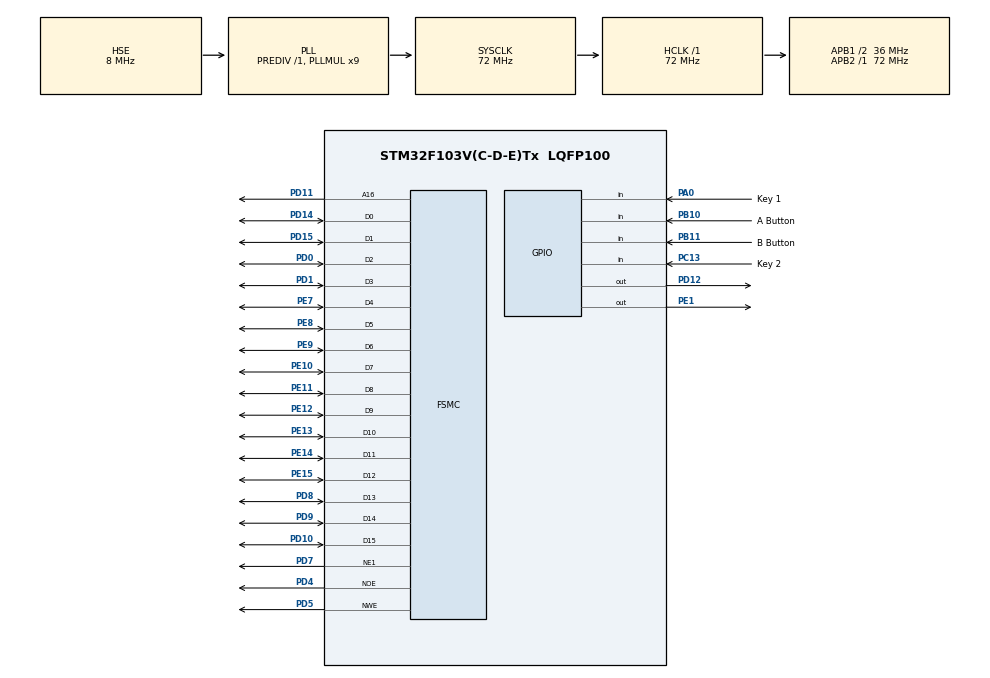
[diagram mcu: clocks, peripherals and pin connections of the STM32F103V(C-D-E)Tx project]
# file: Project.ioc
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Dma.MEMTOMEM.0.Direction=DMA_MEMORY_TO_MEMORY
Dma.MEMTOMEM.0.Instance=DMA1_Channel1
Dma.MEMTOMEM.0.MemDataAlignment=DMA_MDATAALIGN_HALFWORD
Dma.MEMTOMEM.0.MemInc=DMA_MINC_DISABLE
Dma.MEMTOMEM.0.Mode=DMA_NORMAL
Dma.MEMTOMEM.0.PeriphDataAlignment=DMA_PDATAALIGN_HALFWORD
Dma.MEMTOMEM.0.PeriphInc=DMA_PINC_ENABLE
Dma.MEMTOMEM.0.Priority=DMA_PRIORITY_LOW
Dma.Request0=MEMTOMEM
Mcu.Family=STM32F1
Mcu.Name=STM32F103V(C-D-E)Tx
Mcu.Package=LQFP100
NVIC.DMA1_Channel1_IRQn=true\:0\:0\:false\:false\:true\:true\:true\:true
NVIC.PriorityGroup=NVIC_PRIORITYGROUP_4
OSC_IN.Mode=HSE-External-Oscillator
OSC_IN.Signal=RCC_OSC_IN
OSC_OUT.Mode=HSE-External-Oscillator
OSC_OUT.Signal=RCC_OSC_OUT
PA0-WKUP.GPIO_Label=Key 1
PA0-WKUP.GPIO_PuPd=GPIO_PULLDOWN
PA0-WKUP.Signal=GPIO_Input
PA13.Mode=Serial_Wire
PA13.Signal=SYS_JTMS-SWDIO
PA14.Mode=Serial_Wire
PA14.Signal=SYS_JTCK-SWCLK
PB10.GPIO_Label=A Button
PB10.GPIO_PuPd=GPIO_PULLDOWN
PB10.Signal=GPIO_Input
PB11.GPIO_Label=B Button
PB11.GPIO_PuPd=GPIO_PULLDOWN
PB11.Signal=GPIO_Input
PC13-TAMPER-RTC.GPIO_Label=Key 2
PC13-TAMPER-RTC.GPIO_PuPd=GPIO_PULLDOWN
PC13-TAMPER-RTC.Signal=GPIO_Input
PC14-OSC32_IN.Mode=LSE-External-Oscillator
PC14-OSC32_IN.Signal=RCC_OSC32_IN
PC15-OSC32_OUT.Mode=LSE-External-Oscillator
PC15-OSC32_OUT.Signal=RCC_OSC32_OUT
PD0.Mode=16b-d1
PD0.Signal=FSMC_D2
PD1.Mode=16b-d1
PD1.Signal=FSMC_D3
PD10.Mode=16b-d1
PD10.Signal=FSMC_D15
PD11.Mode=A16_1
PD11.Signal=FSMC_A16
PD12.GPIO_Speed=GPIO_SPEED_FREQ_HIGH
PD12.PinState=GPIO_PIN_RESET
PD12.Signal=GPIO_Output
PD14.Mode=16b-d1
PD14.Signal=FSMC_D0
PD15.Mode=16b-d1
PD15.Signal=FSMC_D1
PD4.Mode=Lcd1
PD4.Signal=FSMC_NOE
PD5.Mode=Lcd1
PD5.Signal=FSMC_NWE
PD7.Mode=NorPsramChipSelect1_1
PD7.Signal=FSMC_NE1
PD8.Mode=16b-d1
PD8.Signal=FSMC_D13
PD9.Mode=16b-d1
PD9.Signal=FSMC_D14
PE1.GPIO_Speed=GPIO_SPEED_FREQ_HIGH
PE1.PinState=GPIO_PIN_RESET
PE1.Signal=GPIO_Output
PE10.Mode=16b-d1
PE10.Signal=FSMC_D7
PE11.Mode=16b-d1
PE11.Signal=FSMC_D8
PE12.Mode=16b-d1
PE12.Signal=FSMC_D9
PE13.Mode=16b-d1
PE13.Signal=FSMC_D10
PE14.Mode=16b-d1
PE14.Signal=FSMC_D11
PE15.Mode=16b-d1
PE15.Signal=FSMC_D12
PE7.Mode=16b-d1
PE7.Signal=FSMC_D4
PE8.Mode=16b-d1
PE8.Signal=FSMC_D5
PE9.Mode=16b-d1
PE9.Signal=FSMC_D6
ProjectManager.HeapSize=0x200
ProjectManager.StackSize=0x400
ProjectManager.TargetToolchain=STM32CubeIDE
RCC.AHBFreq_Value=72000000
RCC.APB1CLKDivider=RCC_HCLK_DIV2
RCC.APB1Freq_Value=36000000
RCC.APB1TimFreq_Value=72000000
RCC.APB2Freq_Value=72000000
RCC.APB2TimFreq_Value=72000000
RCC.HCLKFreq_Value=72000000
RCC.PLLMUL=RCC_PLL_MUL9
RCC.PLLSourceVirtual=RCC_PLLSOURCE_HSE
RCC.SYSCLKFreq_VALUE=72000000
RCC.SYSCLKSource=RCC_SYSCLKSOURCE_PLLCLK
RCC.USBFreq_Value=72000000
board=custom

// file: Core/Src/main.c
/* USER CODE BEGIN Header */
/**
  ******************************************************************************
  * @file           : main.c
  * @brief          : Main program body
  ******************************************************************************
  * @attention
  *
  * Copyright (c) 2024 STMicroelectronics.
  * All rights reserved.
  *
  * This software is licensed under terms that can be found in the LICENSE file
  * in the root directory of this software component.
  * If no LICENSE file comes with this software, it is provided AS-IS.
  *
  ******************************************************************************
  */
/* USER CODE END Header */
#include "main.h"

/* USER CODE BEGIN Includes */

#include <stdio.h>
#include "lcd.h"
#include "images.h"
#include "kirby.h"
#include "enemy.h"

/* USER CODE END Includes */

 DMA_HandleTypeDef hdma_memtomem_dma1_channel1;
SRAM_HandleTypeDef hsram1;

void SystemClock_Config(void);
static void MX_GPIO_Init(void);
static void MX_DMA_Init(void);
static void MX_FSMC_Init(void);

/* USER CODE BEGIN 0 */

void XferCpltCallback(DMA_HandleTypeDef* hdma);

void handleWin() {
	char string[10] = "You Win!!";
	LCD_DrawString(0, 220, string);
}

void handleLose() {
	char string[10] = "You Lose!!";
	LCD_DrawString(0, 220, string);
}

/* USER CODE END 0 */

int main(void)
{

  /* MCU Configuration--------------------------------------------------------*/

  /* Reset of all peripherals, Initializes the Flash interface and the Systick. */
  HAL_Init();

  /* Configure the system clock */
  SystemClock_Config();

  /* Initialize all configured peripherals */
  MX_GPIO_Init();
  MX_DMA_Init();
  MX_FSMC_Init();
  /* USER CODE BEGIN 2 */

  // Initialize DMA
  hdma_memtomem_dma1_channel1.XferCpltCallback = &XferCpltCallback;

  LCD_INIT();

  // Change render direction to horizontal
  LCD_Write_Cmd(0x36);
  LCD_Write_Data(0x68);

  LCD_OpenWindow(0, 0, 320, 240);
  LCD_Write_Cmd ( CMD_SetPixel );

  // Rendering platform Image
  for (int y = 0; y < 216; y++) {
	  HAL_DMA_Start_IT(&hdma_memtomem_dma1_channel1, (uint32_t)(&platformImg[882 * y]), (uint32_t)0x60020000, 320);
	  HAL_Delay(1);
  }

  // Initializing Kirby
//  struct Kirby kirby = {
//		  50, 140,
//		  {KIRBY_IDLE_SPRITE_0, KIRBY_IDLE_SPRITE_1, KIRBY_IDLE_SPRITE_2},
//		  {
//				  KIRBY_WALKING_SPRITE_0, KIRBY_WALKING_SPRITE_1, KIRBY_WALKING_SPRITE_2, KIRBY_WALKING_SPRITE_3, KIRBY_WALKING_SPRITE_4,
//				  KIRBY_WALKING_SPRITE_5, KIRBY_WALKING_SPRITE_6, KIRBY_WALKING_SPRITE_7, KIRBY_WALKING_SPRITE_8, KIRBY_WALKING_SPRITE_9,
//		  }
//  };
//
//  uint8_t currentFrame = 0;
//
//  Kirby_displayKirbyFacingRight(kirby.idleKeyframes[currentFrame], kirby.xPos, kirby.yPos);
//  HAL_Delay(1000);

  /* GPIO definitions */
  // Key 1 (Left Button)
  GPIO_TypeDef* LEFT_GPIO_PORT = GPIOA;
  uint16_t LEFT_GPIO_PIN = GPIO_PIN_0;
  uint8_t inputLeft;

  // Key 2 (Right Button)
  GPIO_TypeDef* RIGHT_GPIO_PORT = GPIOC;
  uint16_t RIGHT_GPIO_PIN = GPIO_PIN_13;
  uint8_t inputRight;

  // A Button
  GPIO_TypeDef* A_BUTTON_GPIO_PORT = GPIOB;
  uint16_t A_BUTTON_GPIO_PIN = GPIO_PIN_10;
  uint8_t inputA;

  // B Button
  GPIO_TypeDef* B_BUTTON_GPIO_PORT = GPIOB;
  uint16_t B_BUTTON_GPIO_PIN = GPIO_PIN_11;
  uint8_t inputB;

  // Keeps track of state change: idle - 0, walking right - 1, walking left - 2
//  uint8_t state = 0;
//
//  // Keeps track of direction: right - 0, left - 1
//  uint8_t direction = 0;
//
//  const uint16_t KIRBY_FLOATING_SPRITE_0[1056] = {
//  0x4B4E,0x4B4E,0x4B4E,0x4B4E,0x3A8B,0x3104,0x40C4,0x4906,0x4906,0x3883,0x3186,0x3229,0x3229,0x3229,0x3229,0x3229,0x3229,0x3229,0x3229,0x3229,0x3229,0x3229,0x3229,0x3946,0x48E5,0x4906,0x40C5,0x39A7,0x42EC,0x4B4E,0x4B4E,0x4B4E,0x4B4E,
//  0x4B4E,0x4B4E,0x4B4E,0x3A8B,0x3104,0x9147,0xE332,0xF3F6,0xF3F6,0xD28F,0x68C5,0x4083,0x48E5,0x4947,0x4967,0x4988,0x4988,0x4967,0x4967,0x4926,0x40C5,0x2842,0x1820,0x99CA,0xEB94,0xF3F6,0xEB73,0x81CA,0x39C8,0x42EC,0x4B4E,0x4B4E,0x4B4E,
//  0x4B4E,0x4B4E,0x4B4E,0x1925,0x78E5,0xDB11,0xF4B9,0xFD1B,0xFD1B,0xF457,0xD28F,0xD28F,0xEBB4,0xF478,0xFCB9,0xFCFA,0xFD1B,0xFCD9,0xFCB9,0xF437,0xEB73,0xAA4C,0x89A8,0xCA8E,0xF416,0xF4B9,0xFCFA,0xF457,0x5167,0x2A09,0x4B4E,0x4B4E,0x4B4E,
//  0x4B4E,0x4B4E,0x4B4E,0x1925,0x89AA,0xEC37,0xFD1B,0xFD1B,0xFD1B,0xFD1B,0xF457,0xF457,0xFCFA,0xFD1B,0xFD1B,0xFD1B,0xFD1B,0xFD1B,0xFD1B,0xFD1B,0xFD1B,0xFD1B,0xF457,0xEB73,0xEB73,0xEBB4,0xF478,0xFCB8,0x59A8,0x2A09,0x4B4E,0x4B4E,0x4B4E,
//  0x4B4E,0x4B4E,0x4B4E,0x1925,0x9A4C,0xF478,0xFD1B,0xFD1B,0xFD1B,0xFD1B,0xFCD9,0xFCFA,0xFD1B,0xFD1B,0xFD1B,0xFD1B,0xFD1B,0xFD1B,0xFD1B,0xFD1B,0xFD1B,0xFD1B,0xFD1B,0xFD1B,0xF457,0xE311,0xE331,0xEBF5,0x5988,0x2A09,0x4B4E,0x4B4E,0x4B4E,
//  0x4B4E,0x4B4E,0x4B4E,0x1925,0x920B,0xF437,0xFCFA,0xFD1B,0xFD1B,0xFCFA,0xFCFA,0xFD1B,0xFD1B,0xFD1B,0xFD1B,0xFD1B,0xFD1B,0xFD1B,0xFD1B,0xFCFA,0xFCDA,0xFCFA,0xFD1B,0xFCFA,0xFCB8,0xF416,0xD28E,0xC24D,0x40E5,0x2A09,0x4B4E,0x4B4E,0x4B4E,
//  0x4B4E,0x4B4E,0x4B4E,0x1925,0x8127,0xE352,0xF498,0xFCDA,0xFCDA,0xFCB9,0xFCFA,0xFD1B,0xFD1B,0xFD1B,0xFD1B,0xFD1B,0xFD1B,0xFD1B,0xFD1B,0xF437,0xD372,0xE416,0xF4DA,0xF437,0xD372,0xE3D4,0xF416,0xAA0B,0x3062,0x2A09,0x4B4E,0x4B4E,0x4B4E,
//  0x4B4E,0x4B4E,0x3A8B,0x10C3,0x6083,0xCA4D,0xF3D5,0xF477,0xFC98,0xFCFA,0xFD1B,0xFD1B,0xFD1B,0xFD1B,0xFD1B,0xFD1B,0xFD1B,0xFD1B,0xFD1B,0xEB93,0xAACC,0xC2CE,0xEC37,0xEB93,0xAACC,0xC2CE,0xEC37,0xEBB4,0x6126,0x2966,0x42EC,0x4B4E,0x4B4E,
//  0x4B4E,0x4B4E,0x1925,0x2021,0x6905,0xC26D,0xEBB4,0xF478,0xFCFA,0xFD1B,0xFD1B,0xFD1B,0xFD1B,0xFD1B,0xFD1B,0xFD1B,0xFD1B,0xFD1B,0xFD1B,0xF457,0xC4D5,0x9A6B,0xD393,0xF457,0xC4D5,0x9A6B,0xD393,0xFCD9,0xA20B,0x2841,0x2A09,0x4B4E,0x4B4E,
//  0x4B4E,0x3A8B,0x20E3,0x80E6,0xDAF0,0xF457,0xFCFA,0xFD1B,0xFD1B,0xFD1B,0xFD1B,0xFD1B,0xFD1B,0xFD1B,0xFD1B,0xFD1B,0xFD1B,0xFD1B,0xFD1B,0xFCD9,0x69C9,0x3041,0xB351,0xFCD9,0x69C9,0x3041,0xB351,0xFD1B,0xD2AF,0x5083,0x2966,0x42EC,0x4B4E,
//  0x4B4E,0x1925,0x4862,0xB9EB,0xEBF5,0xFCFA,0xFD1B,0xFD1B,0xFD1B,0xFD1B,0xFD1B,0xFD1B,0xFD1B,0xFD1B,0xFD1B,0xFD1B,0xFD1B,0xFD1B,0xFD1B,0xFD1B,0xA22C,0x2841,0x9B31,0xFD1B,0xA22C,0x2841,0x9B31,0xFD1B,0xEBB4,0x9988,0x2841,0x2A09,0x4B4E,
//  0x4B4E,0x1925,0x78E5,0xDAF0,0xF499,0xFD1B,0xFD1B,0xFD1B,0xFD1B,0xFD1B,0xFD1B,0xFD1B,0xFD1B,0xFD1B,0xFD1B,0xFD1B,0xF4B9,0xF3F8,0xFBB7,0xFC99,0xD2F0,0x40A4,0x9B31,0xFD1B,0xD2F0,0x40A4,0x9A4F,0xF438,0xF4B8,0xD28E,0x4083,0x2A09,0x4B4E,
//  0x4B4E,0x1925,0x8969,0xEBB4,0xFCD9,0xFD1B,0xFD1B,0xFD1B,0xFD1B,0xFD1B,0xFD1B,0xFD1B,0xFD1B,0xFD1B,0xFD1B,0xFD1B,0xF457,0xF2D4,0xFA13,0xFBF8,0xF457,0x81EA,0xB372,0xFD1B,0xF457,0x81EA,0xB18E,0xF355,0xF4B9,0xE352,0x48C5,0x2A09,0x4B4E,
//  0x4B4E,0x1925,0x8969,0xEBB4,0xFCD9,0xFD1B,0xFD1B,0xFD1B,0xFD1B,0xFD1B,0xFD1B,0xFD1B,0xFD1B,0xFD1B,0xFD1B,0xFD1B,0xFD1B,0xFD1B,0xFD1B,0xFD1B,0xFD1B,0xEBD5,0xEC16,0xF4DA,0xF4B9,0xEBB4,0xF457,0xFD1B,0xFD1B,0xE352,0x48C5,0x2A09,0x4B4E,
//  0x4B4E,0x1925,0x8969,0xEBB4,0xFCD9,0xFD1B,0xFD1B,0xFD1B,0xFD1B,0xFD1B,0xFD1B,0xFD1B,0xFD1B,0xFD1B,0xFD1B,0xFD1B,0xFD1B,0xFD1B,0xFD1B,0xFD1B,0xFD1B,0xFD1B,0xEBD5,0xE393,0xDB11,0xEC37,0xFD1B,0xFD1B,0xFD1B,0xE352,0x48C5,0x2A09,0x4B4E,
//  0x4B4E,0x1925,0x8969,0xEBB4,0xFCD9,0xFD1B,0xFD1B,0xFD1B,0xFD1B,0xFD1B,0xFD1B,0xFD1B,0xFD1B,0xFD1B,0xFD1B,0xFD1B,0xFD1B,0xFD1B,0xFD1B,0xFD1B,0xFD1B,0xFD1B,0xEB93,0xD26E,0xC1EB,0xE3D5,0xFD1B,0xFD1B,0xFD1B,0xE352,0x48C5,0x2A09,0x4B4E,
//  0x4B4E,0x1925,0x8969,0xEB93,0xF4B9,0xFD1B,0xFD1B,0xFD1B,0xFD1B,0xFD1B,0xFD1B,0xFD1B,0xFD1B,0xFD1B,0xFD1B,0xFD1B,0xFD1B,0xFD1B,0xFD1B,0xFD1B,0xFD1B,0xFD1B,0xF457,0xF499,0xF457,0xF499,0xFD1B,0xFD1B,0xFCFA,0xE332,0x48C5,0x2A09,0x4B4E,
//  0x4B4E,0x1925,0x8127,0xE2F1,0xF457,0xFCFA,0xFD1B,0xFD1B,0xFD1B,0xFD1B,0xFD1B,0xFD1B,0xFD1B,0xFD1B,0xFD1B,0xFD1B,0xFD1B,0xFD1B,0xFD1B,0xFD1B,0xFD1B,0xFD1B,0xFCD9,0xFCFA,0xFCD9,0xFCFA,0xFD1B,0xFD1B,0xFCB9,0xDAD0,0x48A4,0x2A09,0x4B4E,
//  0x4B4E,0x1925,0x6083,0xCA4D,0xF3D5,0xF498,0xFCFA,0xFD1B,0xFD1B,0xFD1B,0xFD1B,0xFD1B,0xFD1B,0xFD1B,0xFD1B,0xFD1B,0xFD1B,0xFD1B,0xFD1B,0xFD1B,0xFD1B,0xFD1B,0xFD1B,0xFD1B,0xFD1B,0xFD1B,0xFD1B,0xFCFA,0xF436,0xB1EB,0x3042,0x2A09,0x4B4E,
//  0x4B4E,0x29C7,0x3082,0x9948,0xE2F1,0xF3F5,0xF498,0xFCFA,0xFD1B,0xFD1B,0xFD1B,0xFD1B,0xFD1B,0xFD1B,0xFD1B,0xFD1B,0xFD1B,0xFD1B,0xFD1B,0xFD1B,0xFD1B,0xFD1B,0xFD1B,0xFD1B,0xFD1B,0xFD1B,0xFCFA,0xF477,0xE2F1,0x7905,0x20C3,0x326A,0x4B4E,
//  0x4B4E,0x4B4E,0x1925,0x6083,0xCA4D,0xEB53,0xF3F5,0xF498,0xFCDA,0xFCFA,0xFD1B,0xFD1B,0xFD1B,0xFD1B,0xFD1B,0xFD1B,0xFD1B,0xFD1B,0xFD1B,0xFD1B,0xFD1B,0xFD1B,0xFD1B,0xFD1B,0xFCFA,0xFCDA,0xF477,0xF3D5,0xDA6E,0x48A4,0x2A09,0x4B4E,0x4B4E,
//  0x4B4E,0x4B4E,0x29C7,0x3082,0x9948,0xE2F1,0xF394,0xF3F5,0xF436,0xF498,0xFCDA,0xFCFA,0xFD1B,0xFD1B,0xFD1B,0xFD1B,0xFD1B,0xFD1B,0xFD1B,0xFD1B,0xFD1B,0xFD1B,0xFCFA,0xFCDA,0xF477,0xF436,0xF3D5,0xEB52,0xA189,0x38E4,0x326A,0x4B4E,0x4B4E,
//  0x4B4E,0x4B4E,0x4B4E,0x1925,0x6083,0xCA4D,0xEB53,0xF394,0xF394,0xF3F5,0xF436,0xF478,0xF4B9,0xFCDA,0xFCDA,0xFCDA,0xFCDA,0xFCDA,0xFCDA,0xFCDA,0xF4B9,0xF498,0xF457,0xF436,0xF3D5,0xF394,0xEB52,0xC22D,0x40A3,0x2A09,0x4B4E,0x4B4E,0x4B4E,
//  0x4B4E,0x4B4E,0x4B4E,0x1925,0x5022,0xB149,0xDAAF,0xEB53,0xF394,0xF394,0xF394,0xF394,0xF3F5,0xF436,0xF436,0xF436,0xF436,0xF436,0xF436,0xF436,0xF3D5,0xF394,0xF394,0xF394,0xF394,0xEB52,0xD24E,0x70E5,0x20C3,0x326A,0x4B4E,0x4B4E,0x4B4E,
//  0x4B4E,0x4B4E,0x3A8B,0x20E3,0x9827,0xC089,0xB149,0xCA4D,0xE2F1,0xEB53,0xF394,0xF394,0xF394,0xF394,0xF394,0xF394,0xF394,0xF394,0xF394,0xF394,0xF394,0xF394,0xF394,0xEB52,0xE2D0,0xC20C,0x8906,0x38E4,0x326A,0x4B4E,0x4B4E,0x4B4E,0x4B4E,
//  0x4B4E,0x4B4E,0x1925,0x4821,0xC88B,0xE06D,0xA047,0xA085,0xB148,0xCA4D,0xE2F1,0xEB12,0xEB53,0xF394,0xF394,0xF394,0xF394,0xF394,0xF394,0xF394,0xEB52,0xEB12,0xE2D0,0xC20C,0x8906,0x5062,0x20C3,0x326A,0x4B4E,0x4B4E,0x4B4E,0x4B4E,0x4B4E,
//  0x4B4E,0x4B4E,0x1925,0x7004,0xE1EF,0xF991,0xE06D,0xC849,0x9044,0x9885,0xB148,0xB1AA,0xCA4D,0xDAAF,0xDAAF,0xDAAF,0xDAAF,0xDAAF,0xDAAF,0xDAAF,0xD22D,0xB9CA,0x8906,0x5062,0x20C3,0x1104,0x326A,0x4B4E,0x4B4E,0x4B4E,0x4B4E,0x4B4E,0x4B4E,
//  0x4B4E,0x4B4E,0x1925,0x8006,0xEB94,0xFA73,0xF8D0,0xF8D0,0xD04A,0xB806,0x8043,0x4861,0x6083,0x78A4,0x88C5,0xA0C6,0xB0A6,0xB0A6,0xB0A6,0xB0A6,0xB0A6,0x6863,0x20C3,0x1104,0x326A,0x4B4E,0x4B4E,0x4B4E,0x4B4E,0x4B4E,0x4B4E,0x4B4E,0x4B4E,
//  0x4B4E,0x4B4E,0x1925,0x7805,0xE06D,0xF8D0,0xF8D0,0xF08E,0xD82B,0xB808,0x6843,0x20C3,0x1104,0x1104,0x3082,0x7823,0xA805,0xB806,0xB806,0xB005,0x8804,0x38A4,0x326A,0x4B4E,0x4B4E,0x4B4E,0x4B4E,0x4B4E,0x4B4E,0x4B4E,0x4B4E,0x4B4E,0x4B4E,
//  0x4B4E,0x4B4E,0x1925,0x6002,0xC069,0xE88D,0xE88E,0xD02A,0xB007,0x6843,0x20C3,0x326A,0x4B4E,0x4B4E,0x29C7,0x3082,0x7024,0x8806,0x8806,0x8004,0x38A4,0x326A,0x4B4E,0x4B4E,0x4B4E,0x4B4E,0x4B4E,0x4B4E,0x4B4E,0x4B4E,0x4B4E,0x4B4E,0x4B4E,
//  0x4B4E,0x4B4E,0x29C7,0x3082,0x6022,0x8005,0x8806,0x8004,0x5022,0x20C3,0x326A,0x4B4E,0x4B4E,0x4B4E,0x4B4E,0x29C7,0x1104,0x1104,0x1104,0x1104,0x326A,0x4B4E,0x4B4E,0x4B4E,0x4B4E,0x4B4E,0x4B4E,0x4B4E,0x4B4E,0x4B4E,0x4B4E,0x4B4E,0x4B4E,
//  0x4B4E,0x4B4E,0x4B4E,0x29C7,0x1104,0x1104,0x1104,0x1104,0x1104,0x326A,0x4B4E,0x4B4E,0x4B4E,0x4B4E,0x4B4E,0x4B4E,0x4B4E,0x4B4E,0x4B4E,0x4B4E,0x4B4E,0x4B4E,0x4B4E,0x4B4E,0x4B4E,0x4B4E,0x4B4E,0x4B4E,0x4B4E,0x4B4E,0x4B4E,0x4B4E,0x4B4E
//  };
//
//  const uint8_t FLOATING_X_OFFSET = 2;
//  const uint8_t FLOATING_WIDTH = 33;
//  const uint8_t FLOATING_HEIGHT = 32;
//
//  const uint16_t xPos = 10;
//  const uint16_t yPos = 110;

  struct Kirby kirby = {
		  40,		// uint16_t xPos
		  100,		// uint16_t yPos
		  0,		// uint8_t hasSwallowed
		  0,		// uint8_t isFloating
		  0,		// uint8_t enableUp
		  1,		// uint8_t enableX
		  RIGHT,	// enum Direction direction
		  IDLE,		// enum State state
		  0,		// uint8_t currentFrame
		  2500,		// uint16_t remainingTicks
		  IDLE,		// enum State previousState
		  1,		// uint8_t enableStateChange
		  NORMAL	// enum Ability ability
  };

  /**
   * Draw sprite parameters
   * uint8_t spriteWidth
   * uint8_t spriteHeight
   * uint8_t spriteOffset
   * uint16_t* frame
   * uint16_t xPos
   * uint16_t yPos
   */

//  for (int x = 0; x < FLOATING_WIDTH; x++) {
//	  uint16_t displayXPos = (xPos + FLOATING_X_OFFSET + x) % SCREEN_WIDTH;
//	  for (int y = FLOATING_HEIGHT - 1; y >= 0; y--) {
//		  uint16_t displayYPos = yPos + y;
//		  uint16_t color = KIRBY_FLOATING_SPRITE_0[y * FLOATING_WIDTH + x];
//		  if (color == 0x4B4E) {
//			  uint16_t newColor = platformImg[882 * (displayYPos) + (xPos + FLOATING_X_OFFSET + x)];
//			  color = newColor;
//		  }
//		  LCD_DrawDot(displayXPos, displayYPos, color);
//	  }
//  }
//
//  for (int x = 0; x < FLOATING_WIDTH; x++) {
//	  uint16_t displayXPos = (xPos + FLOATING_X_OFFSET + FLOATING_WIDTH - x) % SCREEN_WIDTH;
//	  for (int y = FLOATING_HEIGHT - 1; y >= 0; y--) {
//		  uint16_t displayYPos = yPos + y;
//		  uint16_t color = KIRBY_FLOATING_SPRITE_0[y * FLOATING_WIDTH + x];
//		  if (color == 0x4B4E) {
//			  uint16_t newColor = platformImg[882 * (displayYPos) + (xPos + FLOATING_X_OFFSET + FLOATING_WIDTH - x)];
//			  color = newColor;
//		  }
//		  LCD_DrawDot(displayXPos, displayYPos, color);
//	  }
//  }

  /* USER CODE END 2 */

  /* Infinite loop */
  while (1)
  {

    /* USER CODE BEGIN 3 */

	  /* Reads inputs */
	  inputLeft = HAL_GPIO_ReadPin(LEFT_GPIO_PORT, LEFT_GPIO_PIN);
	  inputRight = HAL_GPIO_ReadPin(RIGHT_GPIO_PORT, RIGHT_GPIO_PIN);
	  inputA = HAL_GPIO_ReadPin(A_BUTTON_GPIO_PORT, A_BUTTON_GPIO_PIN);
	  inputB = HAL_GPIO_ReadPin(B_BUTTON_GPIO_PORT, B_BUTTON_GPIO_PIN);

	  /* Updates state based on input */
	  Kirby_updateState(&kirby, inputB, inputA, inputLeft, inputRight);

	  /* Checks X displacement */
	  if (inputLeft) {
		  Kirby_moveX(&kirby, LEFT);
	  } else if (inputRight) {
		  Kirby_moveX(&kirby, RIGHT);
	  }

	  /* Checks Y displacement */
	  Kirby_moveY(&kirby);

	  /* Renders sprite */
	  Kirby_renderSprite(&kirby);

	  /* Updates and renders enemy */
	  if (showEnemy) {
		  Enemy_updateEnemy(&kirby);
	  }

	  /* Checks win or lose */
	  if (Kirby_checkWin(&kirby)) {
		  handleWin();
		  break;
	  } else if (Kirby_checkLose(&kirby)) {
		  handleLose();
		  break;
	  }

	  // Displays xPos on LCD
//	  LCD_Clear(10, 210, 100, 20, 0xFFFF);
//	  char buffer[6];
//	  sprintf(buffer, "%d", kirby.xPos);
//	  LCD_DrawString(10, 210, buffer);
//
//	  key1State = HAL_GPIO_ReadPin(KEY1_GPIO_PORT, KEY1_GPIO_PIN);
//	  key2State = HAL_GPIO_ReadPin(KEY2_GPIO_PORT, KEY2_GPIO_PIN);
//	  if (key1State) {
//		  /* Walking left */
//		  if (state != 2) {
//			  state = 2;
//			  currentFrame = 0;
//			  direction = 1;
//		  }
//		  Kirby_redrawColumnAfter(&kirby);
//		  if (kirby.xPos > 0) {
//			  if (kirby.xPos > 160 && kirby.xPos < 696) {
//				  Kirby_movePlatform(kirby.xPos);
//			  }
//			  kirby.xPos--;
//		  }
//		  Kirby_displayKirbyFacingLeft(kirby.walkingKeyframes[currentFrame], kirby.xPos, kirby.yPos);
//		  currentFrame = (currentFrame + 1) % 10;
//		  HAL_Delay(20);
//	  } else if (key2State) {
//		  /* Walking right */
//		  // Set state to walking, reset frame
//		  if (state != 1) {
//			  state = 1;
//			  currentFrame = 0;
//			  direction = 0;
//		  }
//		  Kirby_redrawColumnBefore(&kirby);
//		  if (kirby.xPos < 829) {
//			  if (kirby.xPos > 160 && kirby.xPos < 696) {
//				  Kirby_movePlatform(kirby.xPos);
//			  }
//			  kirby.xPos++;
//		  }
//		  Kirby_displayKirbyFacingRight(kirby.walkingKeyframes[currentFrame], kirby.xPos, kirby.yPos);
//		  currentFrame = (currentFrame + 1) % 10;
//		  HAL_Delay(20);
//	  } else {
//		  /* Idle */
//		  // Set state to idle, reset frame
//		  if (state != 0) {
//			  state = 0;
//			  currentFrame = 0;
//		  }
//		  if (direction == 0) {
//			  // right
//			  Kirby_displayKirbyFacingRight(kirby.idleKeyframes[currentFrame], kirby.xPos, kirby.yPos);
//		  } else {
//			  // left
//			  Kirby_displayKirbyFacingLeft(kirby.idleKeyframes[currentFrame], kirby.xPos, kirby.yPos);
//		  }
//		  currentFrame = (currentFrame + 1) % 3;
//		  HAL_Delay(50);
//		  if (currentFrame == 1) {
//			  //HAL_Delay(2500); // Stay longer at the 0th frame
//
//			  uint32_t tickstart = HAL_GetTick();
//			  uint32_t wait = 2500;
//
//			  /* Add a freq to guarantee minimum wait */
//			  if (wait < HAL_MAX_DELAY)
//			  {
//				  wait += (uint32_t)(uwTickFreq);
//			  }
//
//			  while ((HAL_GetTick() - tickstart) < wait)
//			  {
//				  key1State = HAL_GPIO_ReadPin(KEY1_GPIO_PORT, KEY1_GPIO_PIN);
//				  key2State = HAL_GPIO_ReadPin(KEY2_GPIO_PORT, KEY2_GPIO_PIN);
//				  if (key2State || key1State) {
//					  break;
//				  }
//			  }
//		  }
//	  }
  }

  /* USER CODE END 3 */
}

void SystemClock_Config(void)
{
  RCC_OscInitTypeDef RCC_OscInitStruct = {0};
  RCC_ClkInitTypeDef RCC_ClkInitStruct = {0};

  /** Initializes the RCC Oscillators according to the specified parameters
  * in the RCC_OscInitTypeDef structure.
  */
  RCC_OscInitStruct.OscillatorType = RCC_OSCILLATORTYPE_HSE;
  RCC_OscInitStruct.HSEState = RCC_HSE_ON;
  RCC_OscInitStruct.HSEPredivValue = RCC_HSE_PREDIV_DIV1;
  RCC_OscInitStruct.HSIState = RCC_HSI_ON;
  RCC_OscInitStruct.PLL.PLLState = RCC_PLL_ON;
  RCC_OscInitStruct.PLL.PLLSource = RCC_PLLSOURCE_HSE;
  RCC_OscInitStruct.PLL.PLLMUL = RCC_PLL_MUL9;
  if (HAL_RCC_OscConfig(&RCC_OscInitStruct) != HAL_OK)
  {
    Error_Handler();
  }

  /** Initializes the CPU, AHB and APB buses clocks
  */
  RCC_ClkInitStruct.ClockType = RCC_CLOCKTYPE_HCLK|RCC_CLOCKTYPE_SYSCLK
                              |RCC_CLOCKTYPE_PCLK1|RCC_CLOCKTYPE_PCLK2;
  RCC_ClkInitStruct.SYSCLKSource = RCC_SYSCLKSOURCE_PLLCLK;
  RCC_ClkInitStruct.AHBCLKDivider = RCC_SYSCLK_DIV1;
  RCC_ClkInitStruct.APB1CLKDivider = RCC_HCLK_DIV2;
  RCC_ClkInitStruct.APB2CLKDivider = RCC_HCLK_DIV1;

  if (HAL_RCC_ClockConfig(&RCC_ClkInitStruct, FLASH_LATENCY_2) != HAL_OK)
  {
    Error_Handler();
  }
}

static void MX_DMA_Init(void)
{

  /* DMA controller clock enable */
  __HAL_RCC_DMA1_CLK_ENABLE();

  /* Configure DMA request hdma_memtomem_dma1_channel1 on DMA1_Channel1 */
  hdma_memtomem_dma1_channel1.Instance = DMA1_Channel1;
  hdma_memtomem_dma1_channel1.Init.Direction = DMA_MEMORY_TO_MEMORY;
  hdma_memtomem_dma1_channel1.Init.PeriphInc = DMA_PINC_ENABLE;
  hdma_memtomem_dma1_channel1.Init.MemInc = DMA_MINC_DISABLE;
  hdma_memtomem_dma1_channel1.Init.PeriphDataAlignment = DMA_PDATAALIGN_HALFWORD;
  hdma_memtomem_dma1_channel1.Init.MemDataAlignment = DMA_MDATAALIGN_HALFWORD;
  hdma_memtomem_dma1_channel1.Init.Mode = DMA_NORMAL;
  hdma_memtomem_dma1_channel1.Init.Priority = DMA_PRIORITY_LOW;
  if (HAL_DMA_Init(&hdma_memtomem_dma1_channel1) != HAL_OK)
  {
    Error_Handler( );
  }

  /* DMA interrupt init */
  /* DMA1_Channel1_IRQn interrupt configuration */
  HAL_NVIC_SetPriority(DMA1_Channel1_IRQn, 0, 0);
  HAL_NVIC_EnableIRQ(DMA1_Channel1_IRQn);

}

static void MX_GPIO_Init(void)
{
  GPIO_InitTypeDef GPIO_InitStruct = {0};

  /* GPIO Ports Clock Enable */
  __HAL_RCC_GPIOC_CLK_ENABLE();
  __HAL_RCC_GPIOA_CLK_ENABLE();
  __HAL_RCC_GPIOE_CLK_ENABLE();
  __HAL_RCC_GPIOB_CLK_ENABLE();
  __HAL_RCC_GPIOD_CLK_ENABLE();

  /*Configure GPIO pin Output Level */
  HAL_GPIO_WritePin(GPIOD, GPIO_PIN_12, GPIO_PIN_RESET);

  /*Configure GPIO pin Output Level */
  HAL_GPIO_WritePin(GPIOE, GPIO_PIN_1, GPIO_PIN_RESET);

  /*Configure GPIO pin : Key_2_Pin */
  GPIO_InitStruct.Pin = Key_2_Pin;
  GPIO_InitStruct.Mode = GPIO_MODE_INPUT;
  GPIO_InitStruct.Pull = GPIO_PULLDOWN;
  HAL_GPIO_Init(Key_2_GPIO_Port, &GPIO_InitStruct);

  /*Configure GPIO pin : Key_1_Pin */
  GPIO_InitStruct.Pin = Key_1_Pin;
  GPIO_InitStruct.Mode = GPIO_MODE_INPUT;
  GPIO_InitStruct.Pull = GPIO_PULLDOWN;
  HAL_GPIO_Init(Key_1_GPIO_Port, &GPIO_InitStruct);

  /*Configure GPIO pins : A_Button_Pin B_Button_Pin */
  GPIO_InitStruct.Pin = A_Button_Pin|B_Button_Pin;
  GPIO_InitStruct.Mode = GPIO_MODE_INPUT;
  GPIO_InitStruct.Pull = GPIO_PULLDOWN;
  HAL_GPIO_Init(GPIOB, &GPIO_InitStruct);

  /*Configure GPIO pin : PD12 */
  GPIO_InitStruct.Pin = GPIO_PIN_12;
  GPIO_InitStruct.Mode = GPIO_MODE_OUTPUT_PP;
  GPIO_InitStruct.Pull = GPIO_NOPULL;
  GPIO_InitStruct.Speed = GPIO_SPEED_FREQ_HIGH;
  HAL_GPIO_Init(GPIOD, &GPIO_InitStruct);

  /*Configure GPIO pin : PE1 */
  GPIO_InitStruct.Pin = GPIO_PIN_1;
  GPIO_InitStruct.Mode = GPIO_MODE_OUTPUT_PP;
  GPIO_InitStruct.Pull = GPIO_NOPULL;
  GPIO_InitStruct.Speed = GPIO_SPEED_FREQ_HIGH;
  HAL_GPIO_Init(GPIOE, &GPIO_InitStruct);

}

/* FSMC initialization function */
static void MX_FSMC_Init(void)
{

  FSMC_NORSRAM_TimingTypeDef Timing = {0};

  /** Perform the SRAM1 memory initialization sequence
  */
  hsram1.Instance = FSMC_NORSRAM_DEVICE;
  hsram1.Extended = FSMC_NORSRAM_EXTENDED_DEVICE;
  /* hsram1.Init */
  hsram1.Init.NSBank = FSMC_NORSRAM_BANK1;
  hsram1.Init.DataAddressMux = FSMC_DATA_ADDRESS_MUX_DISABLE;
  hsram1.Init.MemoryType = FSMC_MEMORY_TYPE_SRAM;
  hsram1.Init.MemoryDataWidth = FSMC_NORSRAM_MEM_BUS_WIDTH_16;
  hsram1.Init.BurstAccessMode = FSMC_BURST_ACCESS_MODE_DISABLE;
  hsram1.Init.WaitSignalPolarity = FSMC_WAIT_SIGNAL_POLARITY_LOW;
  hsram1.Init.WrapMode = FSMC_WRAP_MODE_DISABLE;
  hsram1.Init.WaitSignalActive = FSMC_WAIT_TIMING_BEFORE_WS;
  hsram1.Init.WriteOperation = FSMC_WRITE_OPERATION_ENABLE;
  hsram1.Init.WaitSignal = FSMC_WAIT_SIGNAL_DISABLE;
  hsram1.Init.ExtendedMode = FSMC_EXTENDED_MODE_DISABLE;
  hsram1.Init.AsynchronousWait = FSMC_ASYNCHRONOUS_WAIT_DISABLE;
  hsram1.Init.WriteBurst = FSMC_WRITE_BURST_DISABLE;
  /* Timing */
  Timing.AddressSetupTime = 15;
  Timing.AddressHoldTime = 15;
  Timing.DataSetupTime = 255;
  Timing.BusTurnAroundDuration = 15;
  Timing.CLKDivision = 16;
  Timing.DataLatency = 17;
  Timing.AccessMode = FSMC_ACCESS_MODE_A;
  /* ExtTiming */

  if (HAL_SRAM_Init(&hsram1, &Timing, NULL) != HAL_OK)
  {
    Error_Handler( );
  }

  /** Disconnect NADV
  */

  __HAL_AFIO_FSMCNADV_DISCONNECTED();

}

/* USER CODE BEGIN 4 */

void XferCpltCallback(DMA_HandleTypeDef* hdma) {
	__NOP();
}

/* USER CODE END 4 */

void Error_Handler(void)
{
  __disable_irq();
  while (1)
  {
  }
}
